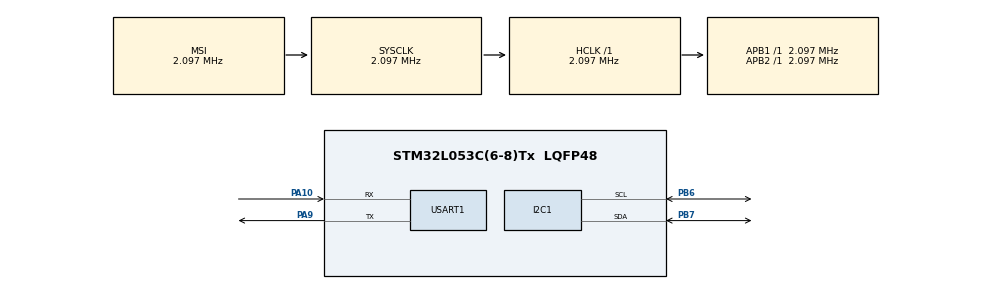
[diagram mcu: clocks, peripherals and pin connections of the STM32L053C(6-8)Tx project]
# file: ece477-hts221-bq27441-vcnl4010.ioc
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Mcu.Family=STM32L0
RCC.MSI_VALUE=2097000
PA10.Mode=Asynchronous
NVIC.TIM6_DAC_IRQn=true\:0\:0\:false\:false\:true\:true\:true
TIM6.Prescaler=2097 - 1
VP_TIM6_VS_ClockSourceINT.Mode=Enable_Timer
ProjectManager.StackSize=0x400
USART1.VirtualMode-Asynchronous=VM_ASYNC
RCC.HSI16_VALUE=16000000
PA9.Mode=Asynchronous
ProjectManager.TargetToolchain=STM32CubeIDE
RCC.APB2TimFreq_Value=2097000
PA9.Signal=USART1_TX
PB6.Signal=I2C1_SCL
PB6.Mode=I2C
RCC.LSE_VALUE=32768
RCC.AHBFreq_Value=2097000
RCC.HSE_VALUE=8000000
board=custom
RCC.VCOOutputFreq_Value=48000000
RCC.APB2Freq_Value=2097000
PB7.Signal=I2C1_SDA
TIM6.Period=1000 - 1
Mcu.Name=STM32L053C(6-8)Tx
RCC.SYSCLKFreq_VALUE=2097000
Mcu.Package=LQFP48
PB7.Mode=I2C
PA10.Signal=USART1_RX
ProjectManager.HeapSize=0x200
RCC.HSI_VALUE=16000000
RCC.APB1TimFreq_Value=2097000
RCC.APB1Freq_Value=2097000
RCC.HSI48_VALUE=48000000

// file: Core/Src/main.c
/* USER CODE BEGIN Header */
/**
  ******************************************************************************
  * @file           : main.c
  * @brief          : Main program body
  ******************************************************************************
  * @attention
  *
  * <h2><center>&copy; Copyright (c) 2021 STMicroelectronics.
  * All rights reserved.</center></h2>
  *
  * This software component is licensed by ST under BSD 3-Clause license,
  * the "License"; You may not use this file except in compliance with the
  * License. You may obtain a copy of the License at:
  *                        opensource.org/licenses/BSD-3-Clause
  *
  ******************************************************************************
  */
/* USER CODE END Header */
#include "main.h"
#include "i2c.h"
#include "tim.h"
#include "usart.h"
#include "gpio.h"

/* USER CODE BEGIN Includes */
#include "hts221.h"
#include "bq27441.h"
#include <stdio.h>	// DEBUG
/* USER CODE END Includes */

/* USER CODE BEGIN PV */
HTS_Cal * hts_cal_data;
int bq_init_ret;

/* USER CODE END PV */

void SystemClock_Config(void);

/* USER CODE BEGIN 0 */
// DEBUG PRINTING OVER SERIAL
#ifdef __GNUC__
  /* With GCC/RAISONANCE, small printf (option LD Linker->Libraries->Small printf
     set to 'Yes') calls __io_putchar() */
  #define PUTCHAR_PROTOTYPE int __io_putchar(int ch)
#else
  #define PUTCHAR_PROTOTYPE int fputc(int ch, FILE *f)
#endif /* __GNUC__ */
/**
  * @brief  Retargets the C library printf function to the USART.
  * @param  None
  * @retval None
  */
PUTCHAR_PROTOTYPE
{
  /* Place your implementation of fputc here */
  /* e.g. write a character to the EVAL_COM1 and Loop until the end of transmission */
  HAL_UART_Transmit(&huart1, (uint8_t *)&ch, 1, 0xFFFF);

  return ch;
}
/* USER CODE END 0 */

int main(void)
{

  /* MCU Configuration--------------------------------------------------------*/

  /* Reset of all peripherals, Initializes the Flash interface and the Systick. */
  HAL_Init();

  /* Configure the system clock */
  SystemClock_Config();

  /* Initialize all configured peripherals */
  MX_GPIO_Init();
  MX_I2C1_Init();
  MX_USART1_UART_Init();
  MX_TIM6_Init();
  /* USER CODE BEGIN 2 */

//  HTS_Cal * hts_cal_data = hts221_init();

  puts("\033[2J\033[H"); // This clears the terminal

  hts_cal_data = hts221_init();
  bq_init_ret = bq_init();
  VCNL4010_enable_Interrupt();

  HAL_TIM_Base_Start_IT(&htim6);

  /* USER CODE END 2 */

  /* Infinite loop */
  while (1)
  {

  }
}

void SystemClock_Config(void)
{
  RCC_OscInitTypeDef RCC_OscInitStruct = {0};
  RCC_ClkInitTypeDef RCC_ClkInitStruct = {0};
  RCC_PeriphCLKInitTypeDef PeriphClkInit = {0};

  /** Configure the main internal regulator output voltage
  */
  __HAL_PWR_VOLTAGESCALING_CONFIG(PWR_REGULATOR_VOLTAGE_SCALE1);
  /** Initializes the RCC Oscillators according to the specified parameters
  * in the RCC_OscInitTypeDef structure.
  */
  RCC_OscInitStruct.OscillatorType = RCC_OSCILLATORTYPE_MSI;
  RCC_OscInitStruct.MSIState = RCC_MSI_ON;
  RCC_OscInitStruct.MSICalibrationValue = 0;
  RCC_OscInitStruct.MSIClockRange = RCC_MSIRANGE_5;
  RCC_OscInitStruct.PLL.PLLState = RCC_PLL_NONE;
  if (HAL_RCC_OscConfig(&RCC_OscInitStruct) != HAL_OK)
  {
    Error_Handler();
  }
  /** Initializes the CPU, AHB and APB buses clocks
  */
  RCC_ClkInitStruct.ClockType = RCC_CLOCKTYPE_HCLK|RCC_CLOCKTYPE_SYSCLK
                              |RCC_CLOCKTYPE_PCLK1|RCC_CLOCKTYPE_PCLK2;
  RCC_ClkInitStruct.SYSCLKSource = RCC_SYSCLKSOURCE_MSI;
  RCC_ClkInitStruct.AHBCLKDivider = RCC_SYSCLK_DIV1;
  RCC_ClkInitStruct.APB1CLKDivider = RCC_HCLK_DIV1;
  RCC_ClkInitStruct.APB2CLKDivider = RCC_HCLK_DIV1;

  if (HAL_RCC_ClockConfig(&RCC_ClkInitStruct, FLASH_LATENCY_0) != HAL_OK)
  {
    Error_Handler();
  }
  PeriphClkInit.PeriphClockSelection = RCC_PERIPHCLK_USART1|RCC_PERIPHCLK_I2C1;
  PeriphClkInit.Usart1ClockSelection = RCC_USART1CLKSOURCE_PCLK2;
  PeriphClkInit.I2c1ClockSelection = RCC_I2C1CLKSOURCE_PCLK1;
  if (HAL_RCCEx_PeriphCLKConfig(&PeriphClkInit) != HAL_OK)
  {
    Error_Handler();
  }
}

void Error_Handler(void)
{
  __disable_irq();
  while (1)
  {
  }
}

/************************ (C) COPYRIGHT STMicroelectronics *****END OF FILE****/
